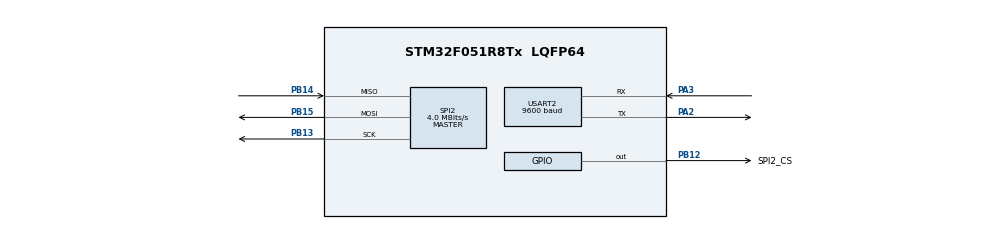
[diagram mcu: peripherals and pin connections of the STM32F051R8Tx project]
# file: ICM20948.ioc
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Mcu.Family=STM32F0
Mcu.Name=STM32F051R8Tx
Mcu.Package=LQFP64
PA2.Mode=Asynchronous
PA2.Signal=USART2_TX
PA3.Mode=Asynchronous
PA3.Signal=USART2_RX
PB12.GPIO_Label=SPI2_CS
PB12.PinState=GPIO_PIN_SET
PB12.Signal=GPIO_Output
PB13.Mode=Full_Duplex_Master
PB13.Signal=SPI2_SCK
PB14.Mode=Full_Duplex_Master
PB14.Signal=SPI2_MISO
PB15.Mode=Full_Duplex_Master
PB15.Signal=SPI2_MOSI
ProjectManager.HeapSize=0x200
ProjectManager.StackSize=0x400
ProjectManager.TargetToolchain=STM32CubeIDE
SPI2.CalculateBaudRate=4.0 MBits/s
SPI2.DataSize=SPI_DATASIZE_8BIT
SPI2.Direction=SPI_DIRECTION_2LINES
SPI2.Mode=SPI_MODE_MASTER
SPI2.VirtualType=VM_MASTER
USART2.BaudRate=9600
USART2.VirtualMode-Asynchronous=VM_ASYNC
board=custom

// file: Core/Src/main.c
/* USER CODE BEGIN Header */
/**
  ******************************************************************************
  * @file           : main.c
  * @brief          : Main program body
  ******************************************************************************
  * @attention
  *
  * Copyright (c) 2022 STMicroelectronics.
  * All rights reserved.
  *
  * This software is licensed under terms that can be found in the LICENSE file
  * in the root directory of this software component.
  * If no LICENSE file comes with this software, it is provided AS-IS.
  *
  ******************************************************************************
  */

/*
* icm20948.c
*
*  Created on: Dec 26, 2020
*      Author: mokhwasomssi
*/

/* USER CODE END Header */
#include "main.h"

/* USER CODE BEGIN Includes */
#include "icm20948.h"
#include "stdio.h"
/* USER CODE END Includes */

SPI_HandleTypeDef hspi2;
UART_HandleTypeDef huart2;

/* USER CODE BEGIN PV */
axises my_gyro;
axises my_accel;
axises my_mag;

static float gyro_scale_factor;
static float accel_scale_factor;

/* USER CODE END PV */

void SystemClock_Config(void);
static void MX_GPIO_Init(void);
static void MX_SPI2_Init(void);
static void MX_USART2_UART_Init(void);
/* USER CODE BEGIN PFP */
void icm20948_init();
void icm20948_gyro_read(axises* data);
void icm20948_accel_read(axises* data);
void icm20948_gyro_read_dps(axises* data);
void icm20948_accel_read_g(axises* data);
/* Sub Functions */
void icm20948_accel_full_scale_select(accel_full_scale full_scale);
void icm20948_gyro_full_scale_select(gyro_full_scale full_scale);
void icm20948_accel_calibration();
void icm20948_gyro_calibration();
void icm20948_accel_sample_rate_divider(uint16_t divider);
void icm20948_gyro_sample_rate_divider(uint8_t divider);
void icm20948_accel_low_pass_filter(uint8_t config);
void icm20948_gyro_low_pass_filter(uint8_t config);
void icm20948_odr_align_enable();
void icm20948_clock_source(uint8_t source);
//void icm20948_i2c_master_clk_frq(uint8_t config);
//void icm20948_i2c_master_enable();
//void icm20948_i2c_master_reset();
void icm20948_spi_slave_enable();
void icm20948_sleep();
void icm20948_wakeup();
void icm20948_device_reset();
bool icm20948_who_am_i();
/*Static functions*/
static void cs_high();
static void cs_low();
static void select_user_bank(userbank ub);
static uint8_t read_single_icm20948_reg(userbank ub, uint8_t reg);
static void write_single_icm20948_reg(userbank ub, uint8_t reg, uint8_t val);
static uint8_t* read_multiple_icm20948_reg(userbank ub, uint8_t reg, uint8_t len);
static void write_multiple_icm20948_reg(userbank ub, uint8_t reg, uint8_t* val, uint8_t len);

/* USER CODE END PFP */

int main(void)
{

  /* MCU Configuration--------------------------------------------------------*/

  /* Reset of all peripherals, Initializes the Flash interface and the Systick. */
  HAL_Init();

  /* Configure the system clock */
  SystemClock_Config();

  /* Initialize all configured peripherals */
  MX_GPIO_Init();
  MX_SPI2_Init();
  MX_USART2_UART_Init();
  /* USER CODE BEGIN 2 */
  icm20948_init();

  /* USER CODE END 2 */

  /* Infinite loop */
  while (1)
  {

    /* USER CODE BEGIN 3 */
	// raw data
	icm20948_accel_read(&my_accel);
	icm20948_gyro_read(&my_gyro);

	// or unit conversion
	icm20948_gyro_read_dps(&my_gyro);
	icm20948_accel_read_g(&my_accel);
	char temp[40];
	/*sprintf(temp, "\r\nAccel:x:%.4f y:%.4f z:%.4f",my_accel.x,my_accel.y,my_accel.z);
	HAL_UART_Transmit(&huart2, temp, sizeof(temp), 1000);
	memset(temp,0,sizeof(temp));

	sprintf(temp, "\r\nGyro:x:%.4f y:%.4f z:%.4f",my_gyro.x,my_gyro.y,my_gyro.z);
	HAL_UART_Transmit(&huart2, temp, sizeof(temp), 1000);
	 */

	sprintf(temp, "\r\n%.2f,%.2f,%.2f,%.2f,%.2f,%.2f",my_accel.x,my_accel.y,my_accel.z,my_gyro.x,my_gyro.y,my_gyro.z);
	HAL_UART_Transmit(&huart2, (uint8_t*)temp, sizeof(temp), 1000);
	//HAL_Delay(100); //wave propoation is usually 10Hz
	/*
	sprintf(temp, "\r\n%.2f,%.2f,%.2f",my_accel.x,my_accel.y,my_accel.z);
	HAL_UART_Transmit(&huart2, (uint8_t*)temp, sizeof(temp), 1000);
	*/
	icm20948_sleep();
	icm20948_wakeup();
	//HAL_Delay(100); //wave propoation is usually 10Hz

  }
  /* USER CODE END 3 */
}

void SystemClock_Config(void)
{
  RCC_OscInitTypeDef RCC_OscInitStruct = {0};
  RCC_ClkInitTypeDef RCC_ClkInitStruct = {0};

  /** Initializes the RCC Oscillators according to the specified parameters
  * in the RCC_OscInitTypeDef structure.
  */
  RCC_OscInitStruct.OscillatorType = RCC_OSCILLATORTYPE_HSI;
  RCC_OscInitStruct.HSIState = RCC_HSI_ON;
  RCC_OscInitStruct.HSICalibrationValue = RCC_HSICALIBRATION_DEFAULT;
  RCC_OscInitStruct.PLL.PLLState = RCC_PLL_NONE;
  if (HAL_RCC_OscConfig(&RCC_OscInitStruct) != HAL_OK)
  {
    Error_Handler();
  }

  /** Initializes the CPU, AHB and APB buses clocks
  */
  RCC_ClkInitStruct.ClockType = RCC_CLOCKTYPE_HCLK|RCC_CLOCKTYPE_SYSCLK
                              |RCC_CLOCKTYPE_PCLK1;
  RCC_ClkInitStruct.SYSCLKSource = RCC_SYSCLKSOURCE_HSI;
  RCC_ClkInitStruct.AHBCLKDivider = RCC_SYSCLK_DIV1;
  RCC_ClkInitStruct.APB1CLKDivider = RCC_HCLK_DIV1;

  if (HAL_RCC_ClockConfig(&RCC_ClkInitStruct, FLASH_LATENCY_0) != HAL_OK)
  {
    Error_Handler();
  }
}

static void MX_SPI2_Init(void)
{

  /* SPI2 parameter configuration*/
  hspi2.Instance = SPI2;
  hspi2.Init.Mode = SPI_MODE_MASTER;
  hspi2.Init.Direction = SPI_DIRECTION_2LINES;
  hspi2.Init.DataSize = SPI_DATASIZE_8BIT;
  hspi2.Init.CLKPolarity = SPI_POLARITY_LOW;
  hspi2.Init.CLKPhase = SPI_PHASE_1EDGE;
  hspi2.Init.NSS = SPI_NSS_SOFT;
  hspi2.Init.BaudRatePrescaler = SPI_BAUDRATEPRESCALER_2;
  hspi2.Init.FirstBit = SPI_FIRSTBIT_MSB;
  hspi2.Init.TIMode = SPI_TIMODE_DISABLE;
  hspi2.Init.CRCCalculation = SPI_CRCCALCULATION_DISABLE;
  hspi2.Init.CRCPolynomial = 7;
  hspi2.Init.CRCLength = SPI_CRC_LENGTH_DATASIZE;
  hspi2.Init.NSSPMode = SPI_NSS_PULSE_ENABLE;
  if (HAL_SPI_Init(&hspi2) != HAL_OK)
  {
    Error_Handler();
  }

}

static void MX_USART2_UART_Init(void)
{

  huart2.Instance = USART2;
  huart2.Init.BaudRate = 9600;
  huart2.Init.WordLength = UART_WORDLENGTH_8B;
  huart2.Init.StopBits = UART_STOPBITS_1;
  huart2.Init.Parity = UART_PARITY_NONE;
  huart2.Init.Mode = UART_MODE_TX_RX;
  huart2.Init.HwFlowCtl = UART_HWCONTROL_NONE;
  huart2.Init.OverSampling = UART_OVERSAMPLING_16;
  huart2.Init.OneBitSampling = UART_ONE_BIT_SAMPLE_DISABLE;
  huart2.AdvancedInit.AdvFeatureInit = UART_ADVFEATURE_NO_INIT;
  if (HAL_UART_Init(&huart2) != HAL_OK)
  {
    Error_Handler();
  }

}

static void MX_GPIO_Init(void)
{
  GPIO_InitTypeDef GPIO_InitStruct = {0};

  /* GPIO Ports Clock Enable */
  __HAL_RCC_GPIOA_CLK_ENABLE();
  __HAL_RCC_GPIOB_CLK_ENABLE();

  /*Configure GPIO pin Output Level */
  HAL_GPIO_WritePin(SPI2_CS_GPIO_Port, SPI2_CS_Pin, GPIO_PIN_SET);

  /*Configure GPIO pin : SPI2_CS_Pin */
  GPIO_InitStruct.Pin = SPI2_CS_Pin;
  GPIO_InitStruct.Mode = GPIO_MODE_OUTPUT_PP;
  GPIO_InitStruct.Pull = GPIO_NOPULL;
  GPIO_InitStruct.Speed = GPIO_SPEED_FREQ_LOW;
  HAL_GPIO_Init(SPI2_CS_GPIO_Port, &GPIO_InitStruct);

}

/* USER CODE BEGIN 4 */
void icm20948_init()
{
	while(!icm20948_who_am_i());

	icm20948_device_reset();
	icm20948_wakeup();

	icm20948_clock_source(1);
	icm20948_odr_align_enable();

	icm20948_spi_slave_enable();

	icm20948_gyro_low_pass_filter(0);
	icm20948_accel_low_pass_filter(0);

	icm20948_gyro_sample_rate_divider(0);
	icm20948_accel_sample_rate_divider(0);

	icm20948_gyro_calibration();
	icm20948_accel_calibration();

	/*
	 * The following full scale select resolutions are chosen based on the intended application
	 * of the IMU: for use on the SHARC ice buoy.
	 *
	 * More information can be found in the project documentation.
	 */
	icm20948_gyro_full_scale_select(_500dps); //chosen in line with application
	icm20948_accel_full_scale_select(_2g); //chosen in line with application

	/** Indicate that startup sequence is successful*/
	char startUp[22];
	sprintf(startUp, "\r\nICM20948 Intialised");
	HAL_UART_Transmit(&huart2, (uint8_t*)startUp, sizeof(startUp), 1000);

}

void icm20948_gyro_read(axises* data)
{
	uint8_t tempH = read_single_icm20948_reg(ub_0, B0_GYRO_XOUT_H);
	uint8_t tempL = read_single_icm20948_reg(ub_0, B0_GYRO_XOUT_L);

	data->x = (int16_t)(tempH<< 8|tempL);

	tempH = read_single_icm20948_reg(ub_0, B0_GYRO_YOUT_H);
	tempL = read_single_icm20948_reg(ub_0, B0_GYRO_YOUT_L);
	data->y = (int16_t)(tempH<< 8|tempL);

	tempH = read_single_icm20948_reg(ub_0, B0_GYRO_ZOUT_H);
	tempL = read_single_icm20948_reg(ub_0, B0_GYRO_ZOUT_L);
	data->z = (int16_t)(tempH<< 8|tempL);
}

void icm20948_accel_read(axises* data)
{
	uint8_t tempH = read_single_icm20948_reg(ub_0, B0_ACCEL_XOUT_H);
	uint8_t tempL = read_single_icm20948_reg(ub_0, B0_ACCEL_XOUT_L);

	data->x = (int16_t)(tempH<< 8|tempL);

	tempH = read_single_icm20948_reg(ub_0, B0_ACCEL_YOUT_H);
	tempL = read_single_icm20948_reg(ub_0, B0_ACCEL_YOUT_L);
	data->y = (int16_t)(tempH<< 8|tempL);

	tempH = read_single_icm20948_reg(ub_0, B0_ACCEL_ZOUT_H);
	tempL = read_single_icm20948_reg(ub_0, B0_ACCEL_ZOUT_L);
	data->z = (int16_t)(tempH<< 8|tempL);
	// Add scale factor because calibraiton function offset gravity acceleration.
}

void icm20948_gyro_read_dps(axises* data)
{
	icm20948_gyro_read(data);

	data->x /= gyro_scale_factor;
	data->y /= gyro_scale_factor;
	data->z /= gyro_scale_factor;
}

void icm20948_accel_read_g(axises* data)
{
	icm20948_accel_read(data);

	data->x /= accel_scale_factor;
	data->y /= accel_scale_factor;
	data->z /= accel_scale_factor;
}

bool icm20948_who_am_i()
{
	uint8_t icm20948_id = read_single_icm20948_reg(ub_0, B0_WHO_AM_I);

	if(icm20948_id == ICM20948_ID)
		return true;
	else
		return false;
}

void icm20948_device_reset()
{
	write_single_icm20948_reg(ub_0, B0_PWR_MGMT_1, 0x80 | 0x41);
	HAL_Delay(100);
}

void icm20948_wakeup()
{
	uint8_t new_val = read_single_icm20948_reg(ub_0, B0_PWR_MGMT_1);
	new_val &= 0xBF;

	write_single_icm20948_reg(ub_0, B0_PWR_MGMT_1, new_val);
	HAL_Delay(100);
}

void icm20948_sleep()
{
	uint8_t new_val = read_single_icm20948_reg(ub_0, B0_PWR_MGMT_1);
	new_val |= 0x40;

	write_single_icm20948_reg(ub_0, B0_PWR_MGMT_1, new_val);
	HAL_Delay(100);
}

void icm20948_spi_slave_enable()
{
	uint8_t new_val = read_single_icm20948_reg(ub_0, B0_USER_CTRL);
	new_val |= 0x10;

	write_single_icm20948_reg(ub_0, B0_USER_CTRL, new_val);
}

void icm20948_clock_source(uint8_t source)
{
	uint8_t new_val = read_single_icm20948_reg(ub_0, B0_PWR_MGMT_1);
	new_val |= source;

	write_single_icm20948_reg(ub_0, B0_PWR_MGMT_1, new_val);
}

void icm20948_odr_align_enable()
{
	write_single_icm20948_reg(ub_2, B2_ODR_ALIGN_EN, 0x01);
}

void icm20948_gyro_low_pass_filter(uint8_t config)
{
	uint8_t new_val = read_single_icm20948_reg(ub_2, B2_GYRO_CONFIG_1);
	new_val |= config << 3;

	write_single_icm20948_reg(ub_2, B2_GYRO_CONFIG_1, new_val);
}

void icm20948_accel_low_pass_filter(uint8_t config)
{
	uint8_t new_val = read_single_icm20948_reg(ub_2, B2_ACCEL_CONFIG);
	new_val |= config << 3;

	write_single_icm20948_reg(ub_2, B2_GYRO_CONFIG_1, new_val);
}

void icm20948_gyro_sample_rate_divider(uint8_t divider)
{
	write_single_icm20948_reg(ub_2, B2_GYRO_SMPLRT_DIV, divider);
}

void icm20948_accel_sample_rate_divider(uint16_t divider)
{
	uint8_t divider_1 = (uint8_t)(divider >> 8);
	uint8_t divider_2 = (uint8_t)(0x0F & divider);

	write_single_icm20948_reg(ub_2, B2_ACCEL_SMPLRT_DIV_1, divider_1);
	write_single_icm20948_reg(ub_2, B2_ACCEL_SMPLRT_DIV_2, divider_2);
}

void icm20948_gyro_calibration()
{
	axises temp;
	int32_t gyro_bias[3] = {0};
	uint8_t gyro_offset[6] = {0};

	for(int i = 0; i < 100; i++)
	{
		icm20948_gyro_read(&temp);
		gyro_bias[0] += temp.x;
		gyro_bias[1] += temp.y;
		gyro_bias[2] += temp.z;
	}

	gyro_bias[0] /= 100;
	gyro_bias[1] /= 100;
	gyro_bias[2] /= 100;

	// Construct the gyro biases for push to the hardware gyro bias registers,
	// which are reset to zero upon device startup.
	// Divide by 4 to get 32.9 LSB per deg/s to conform to expected bias input format.
	// Biases are additive, so change sign on calculated average gyro biases
	gyro_offset[0] = (-gyro_bias[0] / 4  >> 8) & 0xFF;
	gyro_offset[1] = (-gyro_bias[0] / 4)       & 0xFF;
	gyro_offset[2] = (-gyro_bias[1] / 4  >> 8) & 0xFF;
	gyro_offset[3] = (-gyro_bias[1] / 4)       & 0xFF;
	gyro_offset[4] = (-gyro_bias[2] / 4  >> 8) & 0xFF;
	gyro_offset[5] = (-gyro_bias[2] / 4)       & 0xFF;

	write_single_icm20948_reg(ub_2, B2_XG_OFFS_USRH,  gyro_offset[0]);
	write_single_icm20948_reg(ub_2, B2_XG_OFFS_USRL,  gyro_offset[1]);
	write_single_icm20948_reg(ub_2, B2_YG_OFFS_USRH,  gyro_offset[2]);
	write_single_icm20948_reg(ub_2, B2_YG_OFFS_USRL,  gyro_offset[3]);
	write_single_icm20948_reg(ub_2, B2_ZG_OFFS_USRH,  gyro_offset[4]);
	write_single_icm20948_reg(ub_2, B2_ZG_OFFS_USRL,  gyro_offset[5]);
}

void icm20948_accel_calibration()
{
	axises temp;
	uint8_t* temp2;
	uint8_t* temp3;
	uint8_t* temp4;

	int32_t accel_bias[3] = {0};
	int32_t accel_bias_reg[3] = {0};
	uint8_t accel_offset[6] = {0};

	for(int i = 0; i < 100; i++)
	{
		icm20948_accel_read(&temp);
		accel_bias[0] += temp.x;
		accel_bias[1] += temp.y;
		accel_bias[2] += temp.z;
	}

	accel_bias[0] /= 100;
	accel_bias[1] /= 100;
	accel_bias[2] /= 100;

	uint8_t mask_bit[3] = {0, 0, 0};

	temp2 = read_multiple_icm20948_reg(ub_1, B1_XA_OFFS_H, 2);
	accel_bias_reg[0] = (int32_t)(temp2[0] << 8 | temp2[1]);
	mask_bit[0] = temp2[1] & 0x01;

	temp3 = read_multiple_icm20948_reg(ub_1, B1_YA_OFFS_H, 2);
	accel_bias_reg[1] = (int32_t)(temp3[0] << 8 | temp3[1]);
	mask_bit[1] = temp3[1] & 0x01;

	temp4 = read_multiple_icm20948_reg(ub_1, B1_ZA_OFFS_H, 2);
	accel_bias_reg[2] = (int32_t)(temp4[0] << 8 | temp4[1]);
	mask_bit[2] = temp4[1] & 0x01;

	accel_bias_reg[0] -= (accel_bias[0] / 8);
	accel_bias_reg[1] -= (accel_bias[1] / 8);
	accel_bias_reg[2] -= (accel_bias[2] / 8);

	accel_offset[0] = (accel_bias_reg[0] >> 8) & 0xFF;
  	accel_offset[1] = (accel_bias_reg[0])      & 0xFE;
	accel_offset[1] = accel_offset[1] | mask_bit[0];

	accel_offset[2] = (accel_bias_reg[1] >> 8) & 0xFF;
  	accel_offset[3] = (accel_bias_reg[1])      & 0xFE;
	accel_offset[3] = accel_offset[3] | mask_bit[1];

	accel_offset[4] = (accel_bias_reg[2] >> 8) & 0xFF;
	accel_offset[5] = (accel_bias_reg[2])      & 0xFE;
	accel_offset[5] = accel_offset[5] | mask_bit[2];

	/*
	write_multiple_icm20948_reg(ub_1, B1_XA_OFFS_H, &accel_offset[0], 2);
	write_multiple_icm20948_reg(ub_1, B1_YA_OFFS_H, &accel_offset[2], 2);
	write_multiple_icm20948_reg(ub_1, B1_ZA_OFFS_H, &accel_offset[4], 2);
	*/

	write_single_icm20948_reg(ub_1, B1_XA_OFFS_H,  accel_offset[0]);
	write_single_icm20948_reg(ub_1, B1_XA_OFFS_L,  accel_offset[1]);
	write_single_icm20948_reg(ub_1, B1_YA_OFFS_H,  accel_offset[2]);
	write_single_icm20948_reg(ub_1, B1_YA_OFFS_L,  accel_offset[3]);
	write_single_icm20948_reg(ub_1, B1_ZA_OFFS_H,  accel_offset[4]);
	write_single_icm20948_reg(ub_1, B1_YA_OFFS_L,  accel_offset[5]);

}

void icm20948_gyro_full_scale_select(gyro_full_scale full_scale)
{
	uint8_t new_val = read_single_icm20948_reg(ub_2, B2_GYRO_CONFIG_1);

	switch(full_scale)
	{
		case _250dps :
			new_val |= 0x00;
			gyro_scale_factor = 131.0;
			break;
		case _500dps :
			new_val |= 0x02;
			gyro_scale_factor = 65.5;
			break;
		case _1000dps :
			new_val |= 0x04;
			gyro_scale_factor = 32.8;
			break;
		case _2000dps :
			new_val |= 0x06;
			gyro_scale_factor = 16.4;
			break;
	}

	write_single_icm20948_reg(ub_2, B2_GYRO_CONFIG_1, new_val);
}

void icm20948_accel_full_scale_select(accel_full_scale full_scale)
{
	uint8_t new_val = read_single_icm20948_reg(ub_2, B2_ACCEL_CONFIG);

	switch(full_scale)
	{
		case _2g :
			new_val |= 0x00;
			accel_scale_factor = 16384;
			break;
		case _4g :
			new_val |= 0x02;
			accel_scale_factor = 8192;
			break;
		case _8g :
			new_val |= 0x04;
			accel_scale_factor = 4096;
			break;
		case _16g :
			new_val |= 0x06;
			accel_scale_factor = 2048;
			break;
	}

	write_single_icm20948_reg(ub_2, B2_ACCEL_CONFIG, new_val);
}

/* Static Functions */

static void cs_high()
{
	HAL_GPIO_WritePin(ICM20948_SPI_CS_PIN_PORT, ICM20948_SPI_CS_PIN_NUMBER, SET);
}

static void cs_low()
{
	HAL_GPIO_WritePin(ICM20948_SPI_CS_PIN_PORT, ICM20948_SPI_CS_PIN_NUMBER, RESET);
}

static void select_user_bank(userbank ub)
{
	uint8_t write_reg[2];
	write_reg[0] = WRITE | REG_BANK_SEL;
	write_reg[1] = ub;

	cs_low();
	HAL_SPI_Transmit(ICM20948_SPI, write_reg, 2, 10);
	cs_high();
}

static uint8_t read_single_icm20948_reg(userbank ub, uint8_t reg)
{
	uint8_t read_reg = READ | reg;
	uint8_t reg_val;
	select_user_bank(ub);

	cs_low();
	HAL_SPI_Transmit(ICM20948_SPI, &read_reg, 1, 1000);
	HAL_SPI_Receive(ICM20948_SPI, &reg_val, 1, 1000);
	cs_high();

	return reg_val;
}

static void write_single_icm20948_reg(userbank ub, uint8_t reg, uint8_t val)
{
	uint8_t write_reg[2];
	write_reg[0] = WRITE | reg;
	write_reg[1] = val;

	select_user_bank(ub);

	cs_low();
	HAL_SPI_Transmit(ICM20948_SPI, write_reg, 2, 1000);
	cs_high();
}

static uint8_t* read_multiple_icm20948_reg(userbank ub, uint8_t reg, uint8_t len)
{
	uint8_t read_reg = READ | reg;
	static uint8_t reg_val[6];
	select_user_bank(ub);

	cs_low();
	HAL_SPI_Transmit(ICM20948_SPI, &read_reg, 1, 1000);
	HAL_SPI_Receive(ICM20948_SPI, reg_val, len, 1000);
	cs_high();

	return reg_val;
}

static void write_multiple_icm20948_reg(userbank ub, uint8_t reg, uint8_t* val, uint8_t len)
{
	uint8_t write_reg = WRITE | reg;
	select_user_bank(ub);

	cs_low();
	HAL_SPI_Transmit(ICM20948_SPI, &write_reg, 1, 1000);
	HAL_SPI_Transmit(ICM20948_SPI, val, len, 1000);
	cs_high();
}

/* USER CODE END 4 */

void Error_Handler(void)
{
  __disable_irq();
  while (1)
  {
  }
}
